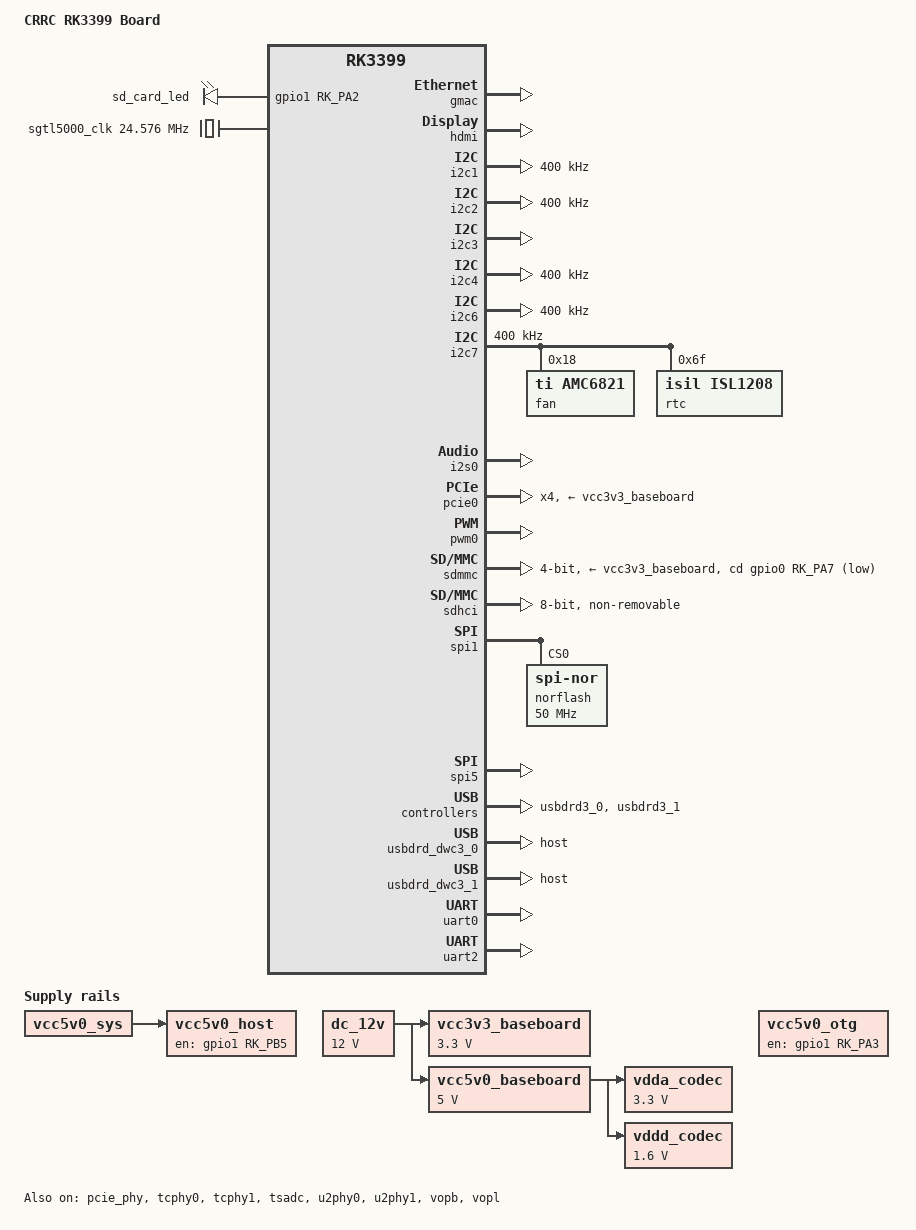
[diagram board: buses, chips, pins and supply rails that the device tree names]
// SPDX-License-Identifier: (GPL-2.0+ OR MIT)
/*
 * Copyright (c) 2026 CRRC
 *
 */

/dts-v1/;
#include "rk3399-puma.dtsi"

/ {
	model = "CRRC RK3399 Board";
	compatible = "TT,CRRC", "rockchip,rk3399";

	aliases {
		mmc1 = &sdmmc;
	};

	chosen {
		stdout-path = "serial0:115200n8";
	};

	leds {
		pinctrl-0 = <&module_led_pin>, <&sd_card_led_pin>;

		sd_card_led: led-1 {
			label = "sd_card_led";
			gpios = <&gpio1 RK_PA2 GPIO_ACTIVE_HIGH>;
			linux,default-trigger = "mmc0";
		};
	};

	/* 12V DC input */
	dc_12v: regulator-dc-12v {
		compatible = "regulator-fixed";
		regulator-name = "dc_12v";
		regulator-always-on;
		regulator-boot-on;
		regulator-min-microvolt = <12000000>;
		regulator-max-microvolt = <12000000>;
	};

	vcc3v3_baseboard: regulator-vcc3v3-baseboard {
		compatible = "regulator-fixed";
		regulator-name = "vcc3v3_baseboard";
		regulator-always-on;
		regulator-boot-on;
		regulator-min-microvolt = <3300000>;
		regulator-max-microvolt = <3300000>;
		vin-supply = <&dc_12v>;
	};

	vcc5v0_baseboard: regulator-vcc5v0-baseboard {
		compatible = "regulator-fixed";
		regulator-name = "vcc5v0_baseboard";
		regulator-always-on;
		regulator-boot-on;
		regulator-min-microvolt = <5000000>;
		regulator-max-microvolt = <5000000>;
		vin-supply = <&dc_12v>;
	};

	/*
	 * USB2 Host1 VBUS: enable via gpio1 RK_PB5 (active-high).
	 * Pinctrl configures gpio4 RK_PA3 as GPIO (separate signal on CRRC board).
	 */
	vcc5v0_host: regulator-vcc5v0-host {
		compatible = "regulator-fixed";
		gpio = <&gpio1 RK_PB5 GPIO_ACTIVE_HIGH>;
		pinctrl-names = "default";
		pinctrl-0 = <&vcc5v0_host_en>;
		regulator-name = "vcc5v0_host";
		regulator-always-on;
		enable-active-high;
		vin-supply = <&vcc5v0_sys>;
	};

	/*
	 * USB OTG VBUS: enable via gpio1 RK_PA3 (active-high).
	 * Pinctrl configures gpio0 RK_PA2 as GPIO (separate control signal).
	 * Note: both DWC3 controllers run in host mode on this board.
	 */
	vcc5v0_otg: regulator-vcc5v0-otg {
		compatible = "regulator-fixed";
		enable-active-high;
		gpios = <&gpio1 RK_PA3 GPIO_ACTIVE_HIGH>;
		pinctrl-names = "default";
		pinctrl-0 = <&otg_vbus_drv>;
		regulator-name = "vcc5v0_otg";
		regulator-always-on;
	};

	/* Audio codec power supplies */
	vdda_codec: regulator-vdda-codec {
		compatible = "regulator-fixed";
		regulator-name = "vdda_codec";
		regulator-boot-on;
		regulator-min-microvolt = <3300000>;
		regulator-max-microvolt = <3300000>;
		vin-supply = <&vcc5v0_baseboard>;
	};

	vddd_codec: regulator-vddd-codec {
		compatible = "regulator-fixed";
		regulator-name = "vddd_codec";
		regulator-boot-on;
		regulator-min-microvolt = <1600000>;
		regulator-max-microvolt = <1600000>;
		vin-supply = <&vcc5v0_baseboard>;
	};

	/* I2S audio card with SGTL5000 */
	i2s0_sound: i2s0-sound {
		compatible = "simple-audio-card";
		simple-audio-card,format = "i2s";
		simple-audio-card,name = "Haikou,I2S-codec";
		simple-audio-card,mclk-fs = <512>;

		simple-audio-card,codec {
			clocks = <&sgtl5000_clk>;
			sound-dai = <&sgtl5000>;
		};

		simple-audio-card,cpu {
			bitclock-master;
			frame-master;
			sound-dai = <&i2s0>;
		};
	};

	sgtl5000_clk: sgtl5000-oscillator {
		compatible = "fixed-clock";
		#clock-cells = <0>;
		clock-frequency = <24576000>;
	};
};

/*
 * GMAC: RGMII with external 125MHz clock input.
 * tx_delay/rx_delay are CRRC board-specific PHY timing values.
 * snps,txpbl=4 matches the original firmware configuration.
 */
&gmac {
	snps,txpbl = <4>;
	tx_delay = <0x28>;
	rx_delay = <0x11>;
	status = "okay";
};

/* GPU disabled on this board */
&gpu {
	status = "disabled";
};

/* HDMI: DDC via i2c3 (same as Puma) */
&hdmi {
	ddc-i2c-bus = <&i2c3>;
	status = "okay";
};

/* hdmi-sound disabled on this board */
&hdmi_sound {
	status = "disabled";
};

&i2c1 {
	status = "okay";
	clock-frequency = <400000>;
};

&i2c2 {
	status = "okay";
	clock-frequency = <400000>;
};

/* i2c3: used for HDMI DDC */
&i2c3 {
	i2c-scl-rising-time-ns = <450>;
	i2c-scl-falling-time-ns = <15>;
	status = "okay";
};

/* i2c4: SGTL5000 audio codec */
&i2c4 {
	status = "okay";
	clock-frequency = <400000>;

	sgtl5000: codec@a {
		compatible = "fsl,sgtl5000";
		reg = <0x0a>;
		clocks = <&sgtl5000_clk>;
		#sound-dai-cells = <0>;
		VDDA-supply = <&vdda_codec>;
		VDDIO-supply = <&vdda_codec>;
		VDDD-supply = <&vddd_codec>;
		status = "disabled";
	};
};

/* i2c5 disabled on this board */
&i2c5 {
	status = "disabled";
};

&i2c6 {
	status = "okay";
	clock-frequency = <400000>;
};

/*
 * i2c7: fan controller and RTC.
 * Note: on CRRC board the fan is a plain ti,amc6821 (no tsd,mule i2c-mux),
 * and the rtc@6f is directly on the i2c7 bus.
 */
&i2c7 {
	status = "okay";
	clock-frequency = <400000>;

	fan: fan@18 {
		compatible = "ti,amc6821";
		reg = <0x18>;
		#cooling-cells = <2>;
	};

	rtc@6f {
		compatible = "isil,isl1208";
		reg = <0x6f>;
	};
};

/* i2s0: active for audio */
&i2s0 {
	rockchip,playback-channels = <2>;
	rockchip,capture-channels = <2>;
	status = "okay";
};

/* i2s1: disabled on this board */
&i2s1 {
	status = "disabled";
};

/* i2s2: disabled on this board */
&i2s2 {
	status = "disabled";
};

/*
 * PCIe x4: ep reset via GPIO4 PC6.
 * pcie_clkreqn_cpm pin is pcfg_pull_none (differs from Puma which uses pull_up).
 */
&pcie0 {
	ep-gpios = <&gpio4 RK_PC6 GPIO_ACTIVE_HIGH>;
	num-lanes = <4>;
	pinctrl-names = "default";
	pinctrl-0 = <&pcie_clkreqn_cpm>;
	vpcie3v3-supply = <&vcc3v3_baseboard>;
	vpcie12v-supply = <&dc_12v>;
	status = "okay";
};

&pcie_phy {
	status = "okay";
};

/* Override pcie clkreq pin to pcfg_pull_none as per CRRC hardware */
&pcie_clkreqn_cpm {
	rockchip,pins =
		<2 RK_PD2 RK_FUNC_GPIO &pcfg_pull_none>;
};

&pinctrl {
	leds {
		sd_card_led_pin: sd-card-led-pin {
			rockchip,pins =
				<1 RK_PA2 RK_FUNC_GPIO &pcfg_pull_none>;
		};
	};

	usb2 {
		/* Pinctrl for gpio4 RK_PA3 as GPIO (separate board signal) */
		vcc5v0_host_en: vcc5v0-host-en {
			rockchip,pins =
				<4 RK_PA3 RK_FUNC_GPIO &pcfg_pull_none>;
		};

		/* Pinctrl for gpio0 RK_PA2 as GPIO (separate board signal) */
		otg_vbus_drv: otg-vbus-drv {
			rockchip,pins =
				<0 RK_PA2 RK_FUNC_GPIO &pcfg_pull_none>;
		};
	};

	/*
	 * Board hog: configure gpio0 PA4/PB1/PB2/PB3 as GPIO input with pull-up.
	 * These correspond to LID_BTN#/WAKE#/BATLOW#/SLP_BTN# signals.
	 */
	hog {
		haikou_pin_hog: haikou-pin-hog {
			rockchip,pins =
				<0 RK_PA4 RK_FUNC_GPIO &pcfg_pull_up>,
				<0 RK_PB1 RK_FUNC_GPIO &pcfg_pull_up>,
				<0 RK_PB2 RK_FUNC_GPIO &pcfg_pull_up>,
				<0 RK_PB3 RK_FUNC_GPIO &pcfg_pull_up>;
		};
	};
};

/* Append board hog to pinctrl top-level */
&pinctrl {
	pinctrl-names = "default";
	pinctrl-0 = <&haikou_pin_hog>;
};

&pwm0 {
	status = "okay";
};

/*
 * SD card (TF card) slot: 4-bit bus.
 * CD: gpio0 RK_PA7, active-low.
 * vqmmc: vcc_sd (1.8V/3.0V switchable from RK808 LDO4).
 * vmmc: vcc3v3_baseboard (fixed 3.3V).
 * max-frequency kept at 150MHz per original firmware (sdmmc controller max).
 */
&sdmmc {
	bus-width = <4>;
	cap-mmc-highspeed;
	cap-sd-highspeed;
	cd-gpios = <&gpio0 RK_PA7 GPIO_ACTIVE_LOW>;
	disable-wp;
	max-frequency = <150000000>;
	pinctrl-names = "default";
	pinctrl-0 = <&sdmmc_clk &sdmmc_cmd &sdmmc_cd &sdmmc_bus4>;
	vqmmc-supply = <&vcc_sd>;
	vmmc-supply = <&vcc3v3_baseboard>;
	status = "okay";
};

/* eMMC 8-bit HS400 */
&sdhci {
	bus-width = <8>;
	mmc-hs400-1_8v;
	mmc-hs400-enhanced-strobe;
	non-removable;
	status = "okay";
};

/* SPI NOR flash on SPI1 */
&spi1 {
	status = "okay";

	norflash: flash@0 {
		compatible = "jedec,spi-nor";
		reg = <0>;
		spi-max-frequency = <50000000>;
	};
};

/* SPI5 enabled */
&spi5 {
	status = "okay";
};

/* TypeC PHY 0: DP + USB3 SuperSpeed */
&tcphy0 {
	status = "okay";
};

/* TypeC PHY 1: USB3 SuperSpeed */
&tcphy1 {
	status = "okay";
};

&tsadc {
	rockchip,hw-tshut-mode = <1>;
	rockchip,hw-tshut-polarity = <1>;
	status = "okay";
};

/*
 * USB2 PHY 0: host port active, phy-supply = vcc5v0_otg.
 * otg-port disabled: DWC3-0 runs in host-only mode.
 */
&u2phy0 {
	status = "okay";

	u2phy0_host: host-port {
		phy-supply = <&vcc5v0_otg>;
		status = "okay";
	};

	u2phy0_otg: otg-port {
		status = "disabled";
	};
};

/*
 * USB2 PHY 1: host port active, phy-supply = vcc5v0_host.
 * otg-port okay: DWC3-1 runs in host mode, otg-port is the USB2 path.
 */
&u2phy1 {
	status = "okay";

	u2phy1_host: host-port {
		phy-supply = <&vcc5v0_host>;
		status = "okay";
	};

	u2phy1_otg: otg-port {
		status = "okay";
	};
};

/* USB3 DWC3-0: host mode */
&usbdrd3_0 {
	status = "okay";
};

&usbdrd_dwc3_0 {
	dr_mode = "host";
	status = "okay";
};

/* USB3 DWC3-1: host mode */
&usbdrd3_1 {
	status = "okay";
};

&usbdrd_dwc3_1 {
	dr_mode = "host";
	status = "okay";
};

/* UART0: console at 115200 */
&uart0 {
	pinctrl-names = "default";
	pinctrl-0 = <&uart0_xfer &uart0_cts &uart0_rts>;
	status = "okay";
};

/*
 * UART2: uses pinctrl uart2c (gpio4 PC3/PC4 function 1).
 * This is different from the Puma/Haikou default.
 */
&uart2 {
	pinctrl-names = "default";
	pinctrl-0 = <&uart2c_xfer>;
	status = "okay";
};

&vopb {
	status = "okay";
};

&vopb_mmu {
	status = "okay";
};

&vopl {
	status = "okay";
};

&vopl_mmu {
	status = "okay";
};
